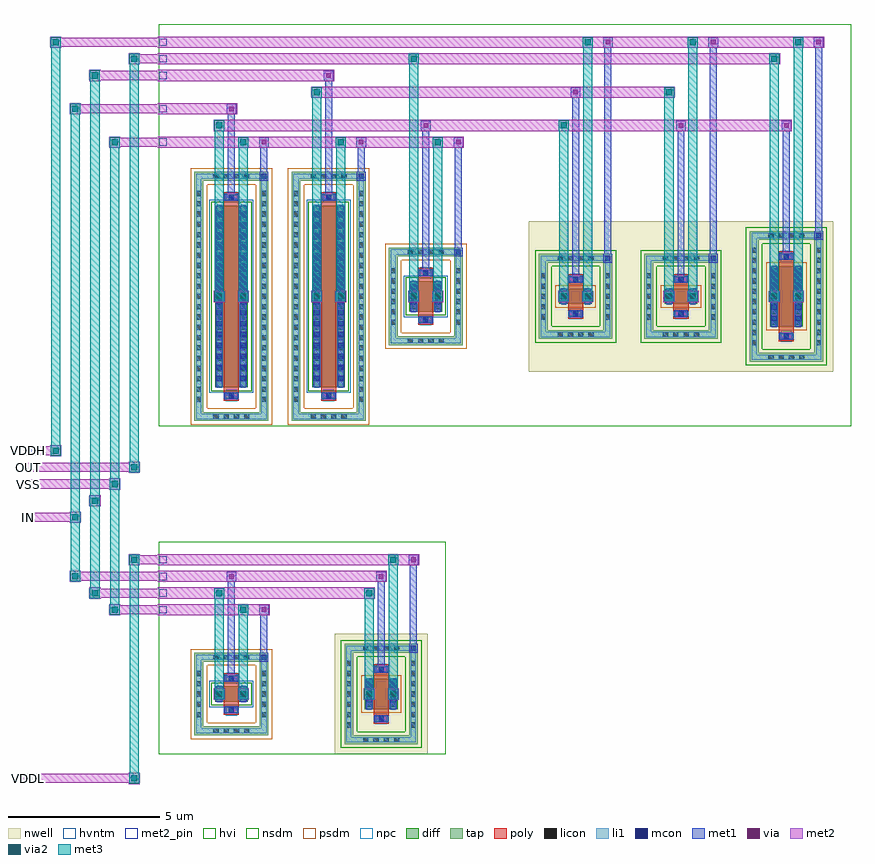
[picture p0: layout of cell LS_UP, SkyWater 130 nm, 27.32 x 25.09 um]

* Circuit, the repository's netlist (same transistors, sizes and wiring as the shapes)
.subckt LS_UP_LS_IN IN INB VDDL VSS
XMPI INB IN VDDL VDDL sky130_fd_pr__pfet_g5v0d10v5 L=0.5 W=1 nf=1
XMNI INB IN VSS VSS sky130_fd_pr__nfet_g5v0d10v5 L=0.5 W=0.5 nf=1
.ends
.subckt LS_UP_LS_CORE IN INB OUT VDDH VSS
XMN1 X IN VSS VSS sky130_fd_pr__nfet_g5v0d10v5 L=0.5 W=6 nf=1
XMN2 Y INB VSS VSS sky130_fd_pr__nfet_g5v0d10v5 L=0.5 W=6 nf=1
XMP1 X Y VDDH VDDH sky130_fd_pr__pfet_g5v0d10v5 L=0.5 W=0.5 nf=1
XMP2 Y X VDDH VDDH sky130_fd_pr__pfet_g5v0d10v5 L=0.5 W=0.5 nf=1
XMPO OUT X VDDH VDDH sky130_fd_pr__pfet_g5v0d10v5 L=0.5 W=2 nf=1
XMNO OUT X VSS VSS sky130_fd_pr__nfet_g5v0d10v5 L=0.5 W=1 nf=1
.ends
.subckt LS_UP IN OUT VDDL VDDH VSS
XXI IN INB VDDL VSS LS_UP_LS_IN
XXC IN INB OUT VDDH VSS LS_UP_LS_CORE
.ends

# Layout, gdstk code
import gdstk
lib = gdstk.Library(unit=1e-6, precision=1e-09)
def R(c, l, rs):  # rectangles x0, y0, x1, y1
    for r in rs: c.add(gdstk.rectangle(r[:2], r[2:], *l))
def A(c, l, x, y, w, h, nx, ny, dx, dy):  # array of equal rectangles
    R(c, l, [(x+i*dx, y+j*dy, x+i*dx+w, y+j*dy+h) for i in range(nx) for j in range(ny)])
nwell = (64, 20)
diff = (65, 20)
tap = (65, 44)
poly = (66, 20)
licon = (66, 44)
li1 = (67, 20)
mcon = (67, 44)
met1 = (68, 20)
via = (68, 44)
met2_pin = (69, 16)
met2 = (69, 20)
via2 = (69, 44)
met3 = (70, 20)
hvi = (75, 20)
nsdm = (93, 44)
psdm = (94, 20)
npc = (95, 20)
hvntm = (125, 20)

ls_up_ls_in = lib.new_cell('LS_UP_LS_IN')
R(ls_up_ls_in, nwell, [(5.81,0,8.89,3.97), (5.81,0,8.89,3.97)])
R(ls_up_ls_in, diff, [(6.81,1.485,7.89,2.485), (1.865,1.735,2.945,2.235)])
R(ls_up_ls_in, tap, [(6.14,0.33,8.56,0.62), (6.14,0.62,6.43,3.35), (8.27,0.62,8.56,3.35), (1.185,0.625,3.625,0.915), (1.185,0.915,1.475,3.055), (3.335,0.915,3.625,3.055), (1.185,3.055,3.625,3.345), (6.14,3.35,8.56,3.64)])
R(ls_up_ls_in, poly, [(7.1,1,7.6,2.97), (2.155,1.295,2.655,2.675)])
A(ls_up_ls_in, licon, 6.755, 0.39, 0.17, 0.17, 4, 2, 0.34, 3.02)
A(ls_up_ls_in, licon, 1.81, 0.685, 0.17, 0.17, 4, 2, 0.34, 2.43)
A(ls_up_ls_in, licon, 6.2, 0.88, 0.17, 0.17, 1, 7, 0, 0.34)
A(ls_up_ls_in, licon, 8.33, 0.88, 0.17, 0.17, 1, 7, 0, 0.34)
A(ls_up_ls_in, licon, 1.245, 1.22, 0.17, 0.17, 1, 5, 0, 0.34)
A(ls_up_ls_in, licon, 3.395, 1.22, 0.17, 0.17, 1, 5, 0, 0.34)
A(ls_up_ls_in, licon, 6.87, 1.56, 0.17, 0.17, 1, 3, 0, 0.34)
A(ls_up_ls_in, licon, 7.66, 1.56, 0.17, 0.17, 1, 3, 0, 0.34)
R(ls_up_ls_in, licon, [(7.265,1.08,7.435,1.25), (2.32,1.375,2.49,1.545), (1.925,1.9,2.095,2.07), (2.715,1.9,2.885,2.07), (2.32,2.425,2.49,2.595), (7.265,2.72,7.435,2.89)])
R(ls_up_ls_in, li1, [(6.2,0.39,8.5,0.56), (6.2,0.56,6.37,3.41), (8.33,0.56,8.5,3.41), (1.245,0.685,3.565,0.855), (1.245,0.855,1.415,3.115), (3.395,0.855,3.565,3.115), (7.1,1.08,7.6,1.25), (2.155,1.375,2.655,1.545), (6.87,1.465,7.04,2.505), (7.66,1.465,7.83,2.505), (1.925,1.715,2.095,2.255), (2.715,1.715,2.885,2.255), (2.155,2.425,2.655,2.595), (7.1,2.72,7.6,2.89), (1.245,3.115,3.565,3.285), (6.2,3.41,8.5,3.58)])
R(ls_up_ls_in, mcon, [(7.265,1.08,7.435,1.25), (2.32,1.375,2.49,1.545), (6.87,1.72,7.04,1.89), (7.66,1.72,7.83,1.89), (1.925,1.9,2.095,2.07), (2.715,1.9,2.885,2.07), (6.87,2.08,7.04,2.25), (7.66,2.08,7.83,2.25), (2.32,2.425,2.49,2.595), (7.265,2.72,7.435,2.89), (3.395,3.115,3.565,3.285), (8.33,3.41,8.5,3.58)])
R(ls_up_ls_in, met1, [(7.12,1.05,7.58,1.28), (2.175,1.345,2.635,1.575), (6.84,1.485,7.07,2.485), (7.63,1.485,7.86,2.485), (1.895,1.735,2.125,2.235), (2.685,1.735,2.915,2.235), (1.85,1.825,2.17,2.145), (2.64,1.825,2.96,2.145), (6.795,1.825,7.115,2.145), (7.585,1.825,7.905,2.145), (2.175,2.395,2.635,2.625), (2.29,2.395,2.52,5.985), (7.12,2.69,7.58,2.92), (7.235,2.69,7.465,5.985), (3.335,3.055,3.625,3.345), (3.365,3.085,3.595,4.885), (8.27,3.35,8.56,3.64), (8.3,3.38,8.53,6.535), (3.32,4.61,3.64,4.93), (2.245,5.71,2.565,6.03), (7.19,5.71,7.51,6.03), (8.255,6.26,8.575,6.58)])
R(ls_up_ls_in, via, [(1.935,1.91,2.085,2.06), (2.725,1.91,2.875,2.06), (6.88,1.91,7.03,2.06), (7.67,1.91,7.82,2.06), (3.405,4.695,3.555,4.845), (2.33,5.795,2.48,5.945), (7.275,5.795,7.425,5.945), (8.34,6.345,8.49,6.495)])
A(ls_up_ls_in, met2_pin, 0.03, 4.65, 0.24, 0.24, 1, 4, 0, 0.55)
R(ls_up_ls_in, met2, [(1.825,1.8,2.195,2.17), (2.615,1.8,2.985,2.17), (6.77,1.8,7.14,2.17), (7.56,1.8,7.93,2.17), (1.85,1.825,2.17,2.145), (2.64,1.825,2.96,2.145), (6.795,1.825,7.115,2.145), (7.585,1.825,7.905,2.145), (-0.035,4.585,3.665,4.955), (2.615,4.585,2.985,4.955), (3.32,4.61,3.64,4.93), (-0.035,5.135,7.14,5.505), (1.825,5.135,2.195,5.505), (6.77,5.135,7.14,5.505), (-0.035,5.685,7.535,6.055), (2.245,5.71,2.565,6.03), (7.19,5.71,7.51,6.03), (-0.035,6.235,8.6,6.605), (7.56,6.235,7.93,6.605), (8.255,6.26,8.575,6.58)])
R(ls_up_ls_in, via2, [(1.91,1.885,2.11,2.085), (2.7,1.885,2.9,2.085), (6.855,1.885,7.055,2.085), (7.645,1.885,7.845,2.085), (2.7,4.67,2.9,4.87), (1.91,5.22,2.11,5.42), (6.855,5.22,7.055,5.42), (7.645,6.32,7.845,6.52)])
R(ls_up_ls_in, met3, [(1.845,1.82,2.175,2.15), (2.635,1.82,2.965,2.15), (6.79,1.82,7.12,2.15), (7.58,1.82,7.91,2.15), (1.86,1.835,2.16,5.47), (2.65,1.835,2.95,4.92), (6.805,1.835,7.105,5.47), (7.595,1.835,7.895,6.57), (2.635,4.605,2.965,4.935), (1.845,5.155,2.175,5.485), (6.79,5.155,7.12,5.485), (7.58,6.255,7.91,6.585)])
R(ls_up_ls_in, hvi, [(0,0,9.49,7.02), (5.81,0,8.89,3.97), (1,0.44,3.81,3.53)])
R(ls_up_ls_in, nsdm, [(6.015,0.205,8.685,0.745), (6.015,0.745,6.555,3.225), (8.145,0.745,8.685,3.225), (1.74,1.61,3.07,2.36), (6.015,3.225,8.685,3.765)])
R(ls_up_ls_in, psdm, [(1.06,0.5,3.75,1.04), (1.06,1.04,1.6,2.93), (3.21,1.04,3.75,2.93), (6.685,1.36,8.015,2.61), (1.06,2.93,3.75,3.47)])
R(ls_up_ls_in, npc, [(7.165,0.98,7.535,1.35), (2.22,1.275,2.59,1.645), (2.22,2.325,2.59,2.695), (7.165,2.62,7.535,2.99)])
R(ls_up_ls_in, hvntm, [(1.68,1.55,3.13,2.42)])
ls_up_ls_in.add(gdstk.Label('VSS', (0.15,4.77), layer=69, texttype=5))
ls_up_ls_in.add(gdstk.Label('INB', (0.15,5.32), layer=69, texttype=5))
ls_up_ls_in.add(gdstk.Label('IN', (0.15,5.87), layer=69, texttype=5))
ls_up_ls_in.add(gdstk.Label('VDDL', (0.15,6.42), layer=69, texttype=5))

ls_up_ls_core = lib.new_cell('LS_UP_LS_CORE')
R(ls_up_ls_core, nwell, [(12.23,1.81,22.27,6.78), (19.19,1.81,22.27,6.78), (12.23,2.56,15.31,6.03), (15.71,2.56,18.79,6.03)])
R(ls_up_ls_core, diff, [(1.865,1.295,2.945,7.295), (5.075,1.295,6.155,7.295), (20.19,3.295,21.27,5.295), (8.285,3.795,9.365,4.795), (13.23,4.045,14.31,4.545), (16.71,4.045,17.79,4.545)])
R(ls_up_ls_core, tap, [(1.185,0.185,3.625,0.475), (4.395,0.185,6.835,0.475), (1.185,0.475,1.475,8.115), (3.335,0.475,3.625,8.115), (4.395,0.475,4.685,8.115), (6.545,0.475,6.835,8.115), (19.52,2.14,21.94,2.43), (19.52,2.43,19.81,6.16), (21.65,2.43,21.94,6.16), (7.605,2.685,10.045,2.975), (12.56,2.89,14.98,3.18), (16.04,2.89,18.46,3.18), (7.605,2.975,7.895,5.615), (9.755,2.975,10.045,5.615), (12.56,3.18,12.85,5.41), (14.69,3.18,14.98,5.41), (16.04,3.18,16.33,5.41), (18.17,3.18,18.46,5.41), (12.56,5.41,14.98,5.7), (16.04,5.41,18.46,5.7), (7.605,5.615,10.045,5.905), (19.52,6.16,21.94,6.45), (1.185,8.115,3.625,8.405), (4.395,8.115,6.835,8.405)])
R(ls_up_ls_core, poly, [(2.155,0.855,2.655,7.735), (5.365,0.855,5.865,7.735), (20.48,2.81,20.98,5.78), (8.575,3.355,9.075,5.235), (13.52,3.56,14.02,5.03), (17,3.56,17.5,5.03)])
A(ls_up_ls_core, licon, 1.81, 0.245, 0.17, 0.17, 4, 2, 0.34, 7.93)
A(ls_up_ls_core, licon, 5.02, 0.245, 0.17, 0.17, 4, 2, 0.34, 7.93)
A(ls_up_ls_core, licon, 1.245, 0.81, 0.17, 0.17, 1, 21, 0, 0.34)
A(ls_up_ls_core, licon, 3.395, 0.81, 0.17, 0.17, 1, 21, 0, 0.34)
A(ls_up_ls_core, licon, 4.455, 0.81, 0.17, 0.17, 1, 21, 0, 0.34)
A(ls_up_ls_core, licon, 6.605, 0.81, 0.17, 0.17, 1, 21, 0, 0.34)
A(ls_up_ls_core, licon, 1.925, 1.49, 0.17, 0.17, 1, 17, 0, 0.34)
A(ls_up_ls_core, licon, 2.715, 1.49, 0.17, 0.17, 1, 17, 0, 0.34)
A(ls_up_ls_core, licon, 5.135, 1.49, 0.17, 0.17, 1, 17, 0, 0.34)
A(ls_up_ls_core, licon, 5.925, 1.49, 0.17, 0.17, 1, 17, 0, 0.34)
A(ls_up_ls_core, licon, 20.135, 2.2, 0.17, 0.17, 4, 2, 0.34, 4.02)
A(ls_up_ls_core, licon, 19.58, 2.68, 0.17, 0.17, 1, 10, 0, 0.34)
A(ls_up_ls_core, licon, 21.71, 2.68, 0.17, 0.17, 1, 10, 0, 0.34)
A(ls_up_ls_core, licon, 8.23, 2.745, 0.17, 0.17, 4, 2, 0.34, 2.93)
A(ls_up_ls_core, licon, 13.175, 2.95, 0.17, 0.17, 4, 2, 0.34, 2.52)
A(ls_up_ls_core, licon, 16.655, 2.95, 0.17, 0.17, 4, 2, 0.34, 2.52)
A(ls_up_ls_core, licon, 7.665, 3.36, 0.17, 0.17, 1, 6, 0, 0.34)
A(ls_up_ls_core, licon, 9.815, 3.36, 0.17, 0.17, 1, 6, 0, 0.34)
A(ls_up_ls_core, licon, 20.25, 3.36, 0.17, 0.17, 1, 6, 0, 0.34)
A(ls_up_ls_core, licon, 21.04, 3.36, 0.17, 0.17, 1, 6, 0, 0.34)
A(ls_up_ls_core, licon, 12.62, 3.53, 0.17, 0.17, 1, 5, 0, 0.34)
A(ls_up_ls_core, licon, 14.75, 3.53, 0.17, 0.17, 1, 5, 0, 0.34)
A(ls_up_ls_core, licon, 16.1, 3.53, 0.17, 0.17, 1, 5, 0, 0.34)
A(ls_up_ls_core, licon, 18.23, 3.53, 0.17, 0.17, 1, 5, 0, 0.34)
A(ls_up_ls_core, licon, 8.345, 3.87, 0.17, 0.17, 1, 3, 0, 0.34)
A(ls_up_ls_core, licon, 9.135, 3.87, 0.17, 0.17, 1, 3, 0, 0.34)
R(ls_up_ls_core, licon, [(2.32,0.935,2.49,1.105), (5.53,0.935,5.7,1.105), (20.645,2.89,20.815,3.06), (8.74,3.435,8.91,3.605), (13.685,3.64,13.855,3.81), (17.165,3.64,17.335,3.81), (13.29,4.21,13.46,4.38), (14.08,4.21,14.25,4.38), (16.77,4.21,16.94,4.38), (17.56,4.21,17.73,4.38), (13.685,4.78,13.855,4.95), (17.165,4.78,17.335,4.95), (8.74,4.985,8.91,5.155), (20.645,5.53,20.815,5.7), (2.32,7.485,2.49,7.655), (5.53,7.485,5.7,7.655)])
R(ls_up_ls_core, li1, [(1.245,0.245,3.565,0.415), (4.455,0.245,6.775,0.415), (1.245,0.415,1.415,8.175), (3.395,0.415,3.565,8.175), (4.455,0.415,4.625,8.175), (6.605,0.415,6.775,8.175), (2.155,0.935,2.655,1.105), (5.365,0.935,5.865,1.105), (1.925,1.275,2.095,7.315), (2.715,1.275,2.885,7.315), (5.135,1.275,5.305,7.315), (5.925,1.275,6.095,7.315), (19.58,2.2,21.88,2.37), (19.58,2.37,19.75,6.22), (21.71,2.37,21.88,6.22), (7.665,2.745,9.985,2.915), (20.48,2.89,20.98,3.06), (7.665,2.915,7.835,5.675), (9.815,2.915,9.985,5.675), (12.62,2.95,14.92,3.12), (16.1,2.95,18.4,3.12), (12.62,3.12,12.79,5.47), (14.75,3.12,14.92,5.47), (16.1,3.12,16.27,5.47), (18.23,3.12,18.4,5.47), (20.25,3.275,20.42,5.315), (21.04,3.275,21.21,5.315), (8.575,3.435,9.075,3.605), (13.52,3.64,14.02,3.81), (17,3.64,17.5,3.81), (8.345,3.775,8.515,4.815), (9.135,3.775,9.305,4.815), (13.29,4.025,13.46,4.565), (14.08,4.025,14.25,4.565), (16.77,4.025,16.94,4.565), (17.56,4.025,17.73,4.565), (13.52,4.78,14.02,4.95), (17,4.78,17.5,4.95), (8.575,4.985,9.075,5.155), (12.62,5.47,14.92,5.64), (16.1,5.47,18.4,5.64), (20.48,5.53,20.98,5.7), (7.665,5.675,9.985,5.845), (19.58,6.22,21.88,6.39), (2.155,7.485,2.655,7.655), (5.365,7.485,5.865,7.655), (1.245,8.175,3.565,8.345), (4.455,8.175,6.775,8.345)])
A(ls_up_ls_core, mcon, 1.925, 1.51, 0.17, 0.17, 1, 16, 0, 0.36)
A(ls_up_ls_core, mcon, 2.715, 1.51, 0.17, 0.17, 1, 16, 0, 0.36)
A(ls_up_ls_core, mcon, 5.135, 1.51, 0.17, 0.17, 1, 16, 0, 0.36)
A(ls_up_ls_core, mcon, 5.925, 1.51, 0.17, 0.17, 1, 16, 0, 0.36)
A(ls_up_ls_core, mcon, 20.25, 3.49, 0.17, 0.17, 1, 5, 0, 0.36)
A(ls_up_ls_core, mcon, 21.04, 3.49, 0.17, 0.17, 1, 5, 0, 0.36)
R(ls_up_ls_core, mcon, [(2.32,0.935,2.49,1.105), (5.53,0.935,5.7,1.105), (20.645,2.89,20.815,3.06), (8.74,3.435,8.91,3.605), (13.685,3.64,13.855,3.81), (17.165,3.64,17.335,3.81), (8.345,4.03,8.515,4.2), (9.135,4.03,9.305,4.2), (13.29,4.21,13.46,4.38), (14.08,4.21,14.25,4.38), (16.77,4.21,16.94,4.38), (17.56,4.21,17.73,4.38), (8.345,4.39,8.515,4.56), (9.135,4.39,9.305,4.56), (13.685,4.78,13.855,4.95), (17.165,4.78,17.335,4.95), (8.74,4.985,8.91,5.155), (14.75,5.47,14.92,5.64), (18.23,5.47,18.4,5.64), (20.645,5.53,20.815,5.7), (9.815,5.675,9.985,5.845), (21.71,6.22,21.88,6.39), (2.32,7.485,2.49,7.655), (5.53,7.485,5.7,7.655), (3.395,8.175,3.565,8.345), (6.605,8.175,6.775,8.345)])
A(ls_up_ls_core, met1, 3.32, 9.23, 0.32, 0.32, 3, 1, 3.21, 0)
A(ls_up_ls_core, met1, 14.675, 12.53, 0.32, 0.32, 3, 1, 3.48, 0)
R(ls_up_ls_core, met1, [(2.175,0.905,2.635,1.135), (5.385,0.905,5.845,1.135), (1.895,1.295,2.125,7.295), (2.685,1.295,2.915,7.295), (5.105,1.295,5.335,7.295), (5.895,1.295,6.125,7.295), (20.5,2.86,20.96,3.09), (20.22,3.295,20.45,5.295), (21.01,3.295,21.24,5.295), (8.595,3.405,9.055,3.635), (13.54,3.61,14,3.84), (17.02,3.61,17.48,3.84), (8.315,3.795,8.545,4.795), (9.105,3.795,9.335,4.795), (13.26,4.045,13.49,4.545), (14.05,4.045,14.28,4.545), (16.74,4.045,16.97,4.545), (17.53,4.045,17.76,4.545), (1.85,4.135,2.17,4.455), (2.64,4.135,2.96,4.455), (5.06,4.135,5.38,4.455), (5.85,4.135,6.17,4.455), (8.27,4.135,8.59,4.455), (9.06,4.135,9.38,4.455), (13.215,4.135,13.535,4.455), (14.005,4.135,14.325,4.455), (16.695,4.135,17.015,4.455), (17.485,4.135,17.805,4.455), (20.175,4.135,20.495,4.455), (20.965,4.135,21.285,4.455), (13.54,4.75,14,4.98), (13.655,4.75,13.885,11.155), (17.02,4.75,17.48,4.98), (17.135,4.75,17.365,10.055), (8.595,4.955,9.055,5.185), (8.71,4.955,8.94,10.055), (14.69,5.41,14.98,5.7), (18.17,5.41,18.46,5.7), (14.72,5.44,14.95,12.805), (18.2,5.44,18.43,12.805), (20.5,5.5,20.96,5.73), (20.615,5.5,20.845,10.055), (9.755,5.615,10.045,5.905), (9.785,5.645,10.015,9.505), (21.65,6.16,21.94,6.45), (21.68,6.19,21.91,12.805), (2.175,7.455,2.635,7.685), (2.29,7.455,2.52,10.605), (5.385,7.455,5.845,7.685), (5.5,7.455,5.73,11.705), (3.335,8.115,3.625,8.405), (6.545,8.115,6.835,8.405), (3.365,8.145,3.595,9.505), (6.575,8.145,6.805,9.505), (8.665,9.78,8.985,10.1), (17.09,9.78,17.41,10.1), (20.57,9.78,20.89,10.1), (2.245,10.33,2.565,10.65), (13.61,10.88,13.93,11.2), (5.455,11.43,5.775,11.75)])
A(ls_up_ls_core, via, 3.405, 9.315, 0.15, 0.15, 3, 1, 3.21, 0)
A(ls_up_ls_core, via, 14.76, 12.615, 0.15, 0.15, 3, 1, 3.48, 0)
R(ls_up_ls_core, via, [(1.935,4.22,2.085,4.37), (2.725,4.22,2.875,4.37), (5.145,4.22,5.295,4.37), (5.935,4.22,6.085,4.37), (8.355,4.22,8.505,4.37), (9.145,4.22,9.295,4.37), (13.3,4.22,13.45,4.37), (14.09,4.22,14.24,4.37), (16.78,4.22,16.93,4.37), (17.57,4.22,17.72,4.37), (20.26,4.22,20.41,4.37), (21.05,4.22,21.2,4.37), (8.75,9.865,8.9,10.015), (17.175,9.865,17.325,10.015), (20.655,9.865,20.805,10.015), (2.33,10.415,2.48,10.565), (13.695,10.965,13.845,11.115), (5.54,11.515,5.69,11.665)])
A(ls_up_ls_core, met2_pin, 0.03, 9.27, 0.24, 0.24, 1, 3, 0, 1.1)
R(ls_up_ls_core, met2_pin, [(0.03,12.02,0.27,12.26), (0.03,12.57,0.27,12.81)])
A(ls_up_ls_core, met2, 2.615, 9.205, 0.37, 0.37, 3, 1, 3.21, 0)
A(ls_up_ls_core, met2, 3.32, 9.23, 0.32, 0.32, 3, 1, 3.21, 0)
A(ls_up_ls_core, met2, 13.98, 12.505, 0.37, 0.37, 3, 1, 3.48, 0)
A(ls_up_ls_core, met2, 14.675, 12.53, 0.32, 0.32, 3, 1, 3.48, 0)
R(ls_up_ls_core, met2, [(1.825,4.11,2.195,4.48), (2.615,4.11,2.985,4.48), (5.035,4.11,5.405,4.48), (5.825,4.11,6.195,4.48), (8.245,4.11,8.615,4.48), (9.035,4.11,9.405,4.48), (13.19,4.11,13.56,4.48), (13.98,4.11,14.35,4.48), (16.67,4.11,17.04,4.48), (17.46,4.11,17.83,4.48), (20.15,4.11,20.52,4.48), (20.94,4.11,21.31,4.48), (1.85,4.135,2.17,4.455), (2.64,4.135,2.96,4.455), (5.06,4.135,5.38,4.455), (5.85,4.135,6.17,4.455), (8.27,4.135,8.59,4.455), (9.06,4.135,9.38,4.455), (13.215,4.135,13.535,4.455), (14.005,4.135,14.325,4.455), (16.695,4.135,17.015,4.455), (17.485,4.135,17.805,4.455), (20.175,4.135,20.495,4.455), (20.965,4.135,21.285,4.455), (-0.035,9.205,10.085,9.575), (1.825,9.755,2.195,10.125), (1.825,9.755,20.915,10.125), (13.19,9.755,13.56,10.125), (8.665,9.78,8.985,10.1), (17.09,9.78,17.41,10.1), (20.57,9.78,20.89,10.1), (-0.035,10.305,2.59,10.675), (2.245,10.33,2.565,10.65), (5.035,10.855,5.405,11.225), (5.035,10.855,17.04,11.225), (16.67,10.855,17.04,11.225), (13.61,10.88,13.93,11.2), (-0.035,11.405,5.8,11.775), (5.455,11.43,5.775,11.75), (-0.035,11.955,20.52,12.325), (8.245,11.955,8.615,12.325), (20.15,11.955,20.52,12.325), (-0.035,12.505,21.98,12.875)])
A(ls_up_ls_core, via2, 2.7, 9.29, 0.2, 0.2, 3, 1, 3.21, 0)
A(ls_up_ls_core, via2, 14.065, 12.59, 0.2, 0.2, 3, 1, 3.48, 0)
R(ls_up_ls_core, via2, [(1.91,4.195,2.11,4.395), (2.7,4.195,2.9,4.395), (5.12,4.195,5.32,4.395), (5.91,4.195,6.11,4.395), (8.33,4.195,8.53,4.395), (9.12,4.195,9.32,4.395), (13.275,4.195,13.475,4.395), (14.065,4.195,14.265,4.395), (16.755,4.195,16.955,4.395), (17.545,4.195,17.745,4.395), (20.235,4.195,20.435,4.395), (21.025,4.195,21.225,4.395), (1.91,9.84,2.11,10.04), (13.275,9.84,13.475,10.04), (5.12,10.94,5.32,11.14), (16.755,10.94,16.955,11.14), (8.33,12.04,8.53,12.24), (20.235,12.04,20.435,12.24)])
A(ls_up_ls_core, met3, 2.65, 4.145, 0.3, 5.395, 3, 1, 3.21, 0)
A(ls_up_ls_core, met3, 14.015, 4.145, 0.3, 8.695, 3, 1, 3.48, 0)
A(ls_up_ls_core, met3, 2.635, 9.225, 0.33, 0.33, 3, 1, 3.21, 0)
A(ls_up_ls_core, met3, 14, 12.525, 0.33, 0.33, 3, 1, 3.48, 0)
R(ls_up_ls_core, met3, [(1.845,4.13,2.175,4.46), (2.635,4.13,2.965,4.46), (5.055,4.13,5.385,4.46), (5.845,4.13,6.175,4.46), (8.265,4.13,8.595,4.46), (9.055,4.13,9.385,4.46), (13.21,4.13,13.54,4.46), (14,4.13,14.33,4.46), (16.69,4.13,17.02,4.46), (17.48,4.13,17.81,4.46), (20.17,4.13,20.5,4.46), (20.96,4.13,21.29,4.46), (1.86,4.145,2.16,10.09), (5.07,4.145,5.37,11.19), (8.28,4.145,8.58,12.29), (13.225,4.145,13.525,10.09), (16.705,4.145,17.005,11.19), (20.185,4.145,20.485,12.29), (1.845,9.775,2.175,10.105), (13.21,9.775,13.54,10.105), (5.055,10.875,5.385,11.205), (16.69,10.875,17.02,11.205), (8.265,11.975,8.595,12.305), (20.17,11.975,20.5,12.305)])
R(ls_up_ls_core, hvi, [(0,0,22.87,13.29), (1,0,3.81,8.59), (4.21,0,7.02,8.59), (19.19,1.81,22.27,6.78), (7.42,2.5,10.23,6.09), (12.23,2.56,15.31,6.03), (15.71,2.56,18.79,6.03)])
R(ls_up_ls_core, nsdm, [(1.74,1.17,3.07,7.42), (4.95,1.17,6.28,7.42), (19.395,2.015,22.065,2.555), (19.395,2.555,19.935,6.035), (21.525,2.555,22.065,6.035), (12.435,2.765,15.105,3.305), (15.915,2.765,18.585,3.305), (12.435,3.305,12.975,5.285), (14.565,3.305,15.105,5.285), (15.915,3.305,16.455,5.285), (18.045,3.305,18.585,5.285), (8.16,3.67,9.49,4.92), (12.435,5.285,15.105,5.825), (15.915,5.285,18.585,5.825), (19.395,6.035,22.065,6.575)])
R(ls_up_ls_core, psdm, [(1.06,0.06,3.75,0.6), (4.27,0.06,6.96,0.6), (1.06,0.6,1.6,7.99), (3.21,0.6,3.75,7.99), (4.27,0.6,4.81,7.99), (6.42,0.6,6.96,7.99), (7.48,2.56,10.17,3.1), (7.48,3.1,8.02,5.49), (9.63,3.1,10.17,5.49), (20.065,3.17,21.395,5.42), (13.105,3.92,14.435,4.67), (16.585,3.92,17.915,4.67), (7.48,5.49,10.17,6.03), (1.06,7.99,3.75,8.53), (4.27,7.99,6.96,8.53)])
R(ls_up_ls_core, npc, [(2.22,0.835,2.59,1.205), (5.43,0.835,5.8,1.205), (20.545,2.79,20.915,3.16), (8.64,3.335,9.01,3.705), (13.585,3.54,13.955,3.91), (17.065,3.54,17.435,3.91), (13.585,4.68,13.955,5.05), (17.065,4.68,17.435,5.05), (8.64,4.885,9.01,5.255), (20.545,5.43,20.915,5.8), (2.22,7.385,2.59,7.755), (5.43,7.385,5.8,7.755)])
R(ls_up_ls_core, hvntm, [(1.68,1.11,3.13,7.48), (4.89,1.11,6.34,7.48), (8.1,3.61,9.55,4.98)])
ls_up_ls_core.add(gdstk.Label('VSS', (0.15,9.39), layer=69, texttype=5))
ls_up_ls_core.add(gdstk.Label('IN', (0.15,10.49), layer=69, texttype=5))
ls_up_ls_core.add(gdstk.Label('INB', (0.15,11.59), layer=69, texttype=5))
ls_up_ls_core.add(gdstk.Label('OUT', (0.15,12.14), layer=69, texttype=5))
ls_up_ls_core.add(gdstk.Label('VDDH', (0.15,12.69), layer=69, texttype=5))

ls_up = lib.new_cell('LS_UP')
A(ls_up, met2_pin, 0.03, 10.4, 0.24, 0.24, 1, 3, 0, 0.55)
R(ls_up, met2_pin, [(0.03,0.68,0.27,0.92), (0.03,9.3,0.27,9.54)])
R(ls_up, met2, [(3.465,0.615,3.835,0.985), (0,0.65,3.8,0.95), (2.815,6.185,3.185,6.555), (2.85,6.22,4.75,6.52), (2.165,6.735,2.535,7.105), (2.2,6.77,4.75,7.07), (1.515,7.285,1.885,7.655), (1.55,7.32,4.75,7.62), (3.465,7.835,3.835,8.205), (3.5,7.87,4.75,8.17), (1.515,9.235,1.885,9.605), (1.515,9.235,1.885,9.605), (0,9.27,1.85,9.57), (2.165,9.785,2.535,10.155), (2.165,9.785,2.535,10.155), (2.2,9.82,2.5,10.12), (2.815,10.335,3.185,10.705), (2.815,10.335,3.185,10.705), (0,10.37,3.15,10.67), (3.465,10.885,3.835,11.255), (0,10.92,3.8,11.22), (0.865,11.435,1.235,11.805), (0,11.47,1.2,11.77), (2.815,21.625,3.185,21.995), (2.85,21.66,4.75,21.96), (1.515,22.725,1.885,23.095), (1.55,22.76,4.75,23.06), (2.165,23.825,2.535,24.195), (2.2,23.86,4.75,24.16), (3.465,24.375,3.835,24.745), (3.5,24.41,4.75,24.71), (0.865,24.925,1.235,25.295), (0.9,24.96,4.75,25.26)])
R(ls_up, via2, [(3.55,0.7,3.75,0.9), (2.9,6.27,3.1,6.47), (2.25,6.82,2.45,7.02), (1.6,7.37,1.8,7.57), (3.55,7.92,3.75,8.12), (1.6,9.32,1.8,9.52), (1.6,9.32,1.8,9.52), (2.25,9.87,2.45,10.07), (2.25,9.87,2.45,10.07), (2.9,10.42,3.1,10.62), (2.9,10.42,3.1,10.62), (3.55,10.97,3.75,11.17), (0.95,11.52,1.15,11.72), (2.9,21.71,3.1,21.91), (1.6,22.81,1.8,23.01), (2.25,23.91,2.45,24.11), (3.55,24.46,3.75,24.66), (0.95,25.01,1.15,25.21)])
R(ls_up, met3, [(3.485,0.635,3.815,0.965), (3.5,0.65,3.8,8.17), (2.835,6.205,3.165,6.535), (2.85,6.22,3.15,10.67), (2.185,6.755,2.515,7.085), (2.2,6.77,2.5,10.12), (1.535,7.305,1.865,7.635), (1.55,7.32,1.85,9.57), (3.485,7.855,3.815,8.185), (1.535,9.255,1.865,9.585), (1.535,9.255,1.865,9.585), (1.55,9.27,1.85,23.06), (2.185,9.805,2.515,10.135), (2.185,9.805,2.515,10.135), (2.2,9.82,2.5,24.16), (2.835,10.355,3.165,10.685), (2.835,10.355,3.165,10.685), (2.85,10.37,3.15,21.96), (3.485,10.905,3.815,11.235), (3.5,10.92,3.8,24.71), (0.885,11.455,1.215,11.785), (0.9,11.47,1.2,25.26), (2.835,21.645,3.165,21.975), (1.535,22.745,1.865,23.075), (2.185,23.845,2.515,24.175), (3.485,24.395,3.815,24.725), (0.885,24.945,1.215,25.275)])
ls_up.add(gdstk.Reference(ls_up_ls_in, (4.45,1.6)))
ls_up.add(gdstk.Reference(ls_up_ls_core, (4.45,12.42)))
ls_up.add(gdstk.Label('IN', (0.15,9.42), layer=69, texttype=5))
ls_up.add(gdstk.Label('VDDL', (0.15,0.8), layer=69, texttype=5))
ls_up.add(gdstk.Label('VSS', (0.15,10.52), layer=69, texttype=5))
ls_up.add(gdstk.Label('OUT', (0.15,11.07), layer=69, texttype=5))
ls_up.add(gdstk.Label('VDDH', (0.15,11.62), layer=69, texttype=5))

lib.write_gds('LS_UP.gds')
